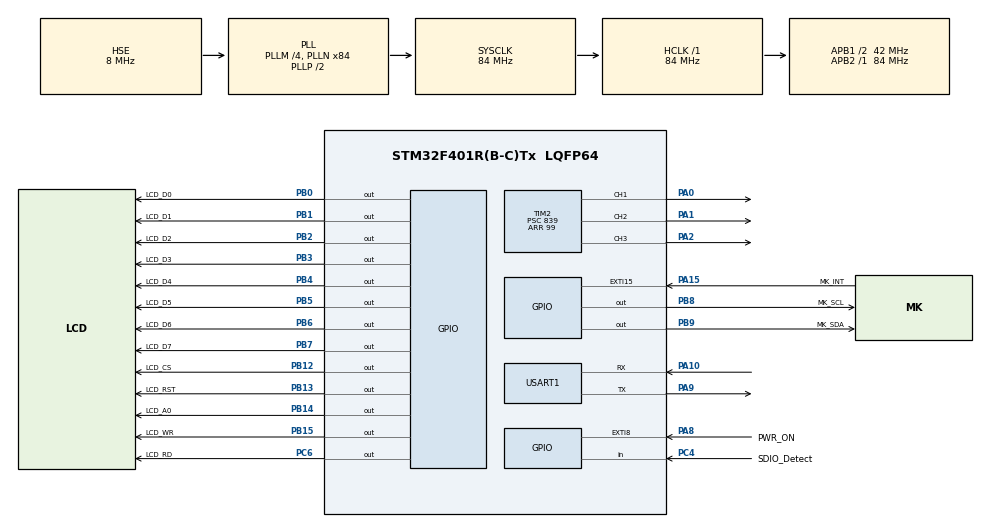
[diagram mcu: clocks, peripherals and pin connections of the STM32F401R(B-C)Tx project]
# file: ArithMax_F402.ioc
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Mcu.Family=STM32F4
Mcu.Name=STM32F401R(B-C)Tx
Mcu.Package=LQFP64
NVIC.EXTI15_10_IRQn=true\:2\:0\:true\:false\:true\:true\:true\:true
NVIC.EXTI9_5_IRQn=true\:1\:0\:true\:false\:true\:true\:true\:true
NVIC.PriorityGroup=NVIC_PRIORITYGROUP_4
NVIC.TIM1_UP_TIM10_IRQn=true\:3\:0\:true\:false\:true\:true\:true\:true
PA0-WKUP.Signal=S_TIM2_CH1_ETR
PA1.Signal=S_TIM2_CH2
PA10.Mode=Asynchronous
PA10.Signal=USART1_RX
PA13.Mode=Serial_Wire
PA13.Signal=SYS_JTMS-SWDIO
PA14.Mode=Serial_Wire
PA14.Signal=SYS_JTCK-SWCLK
PA15.GPIO_Label=MK_INT
PA15.GPIO_ModeDefaultEXTI=GPIO_MODE_IT_FALLING
PA15.Signal=GPXTI15
PA2.Signal=S_TIM2_CH3
PA8.GPIO_Label=PWR_ON
PA8.GPIO_ModeDefaultEXTI=GPIO_MODE_IT_FALLING
PA8.GPIO_PuPd=GPIO_PULLUP
PA8.Signal=GPXTI8
PA9.Mode=Asynchronous
PA9.Signal=USART1_TX
PB0.GPIO_Label=LCD_D0
PB0.GPIO_Speed=GPIO_SPEED_FREQ_VERY_HIGH
PB0.Signal=GPIO_Output
PB1.GPIO_Label=LCD_D1
PB1.GPIO_Speed=GPIO_SPEED_FREQ_VERY_HIGH
PB1.Signal=GPIO_Output
PB12.GPIO_Label=LCD_CS
PB12.GPIO_Speed=GPIO_SPEED_FREQ_VERY_HIGH
PB12.Signal=GPIO_Output
PB13.GPIO_Label=LCD_RST
PB13.GPIO_Speed=GPIO_SPEED_FREQ_VERY_HIGH
PB13.Signal=GPIO_Output
PB14.GPIO_Label=LCD_A0
PB14.GPIO_Speed=GPIO_SPEED_FREQ_VERY_HIGH
PB14.Signal=GPIO_Output
PB15.GPIO_Label=LCD_WR
PB15.GPIO_Speed=GPIO_SPEED_FREQ_VERY_HIGH
PB15.Signal=GPIO_Output
PB2.GPIO_Label=LCD_D2
PB2.GPIO_Speed=GPIO_SPEED_FREQ_VERY_HIGH
PB2.Signal=GPIO_Output
PB3.GPIO_Label=LCD_D3
PB3.GPIO_Speed=GPIO_SPEED_FREQ_VERY_HIGH
PB3.Signal=GPIO_Output
PB4.GPIO_Label=LCD_D4
PB4.GPIO_Speed=GPIO_SPEED_FREQ_VERY_HIGH
PB4.Signal=GPIO_Output
PB5.GPIO_Label=LCD_D5
PB5.GPIO_Speed=GPIO_SPEED_FREQ_VERY_HIGH
PB5.Signal=GPIO_Output
PB6.GPIO_Label=LCD_D6
PB6.GPIO_Speed=GPIO_SPEED_FREQ_VERY_HIGH
PB6.Signal=GPIO_Output
PB7.GPIO_Label=LCD_D7
PB7.GPIO_Speed=GPIO_SPEED_FREQ_VERY_HIGH
PB7.Signal=GPIO_Output
PB8.GPIO_Label=MK_SCL
PB8.GPIO_Speed=GPIO_SPEED_FREQ_VERY_HIGH
PB8.Signal=GPIO_Output
PB9.GPIO_Label=MK_SDA
PB9.GPIO_Speed=GPIO_SPEED_FREQ_VERY_HIGH
PB9.Signal=GPIO_Output
PC4.GPIO_Label=SDIO_Detect
PC4.GPIO_PuPd=GPIO_PULLDOWN
PC4.Signal=GPIO_Input
PC6.GPIO_Label=LCD_RD
PC6.GPIO_Speed=GPIO_SPEED_FREQ_VERY_HIGH
PC6.Signal=GPIO_Output
PH0\ -\ OSC_IN.Mode=HSE-External-Oscillator
PH0\ -\ OSC_IN.Signal=RCC_OSC_IN
PH1\ -\ OSC_OUT.Mode=HSE-External-Oscillator
PH1\ -\ OSC_OUT.Signal=RCC_OSC_OUT
ProjectManager.HeapSize=0x1600
ProjectManager.StackSize=0x3200
ProjectManager.TargetToolchain=MDK-ARM V5.32
RCC.48MHZClocksFreq_Value=42000000
RCC.AHBFreq_Value=84000000
RCC.APB1CLKDivider=RCC_HCLK_DIV2
RCC.APB1Freq_Value=42000000
RCC.APB1TimFreq_Value=84000000
RCC.APB2Freq_Value=84000000
RCC.APB2TimFreq_Value=84000000
RCC.CortexFreq_Value=84000000
RCC.HCLKFreq_Value=84000000
RCC.HSE_VALUE=8000000
RCC.HSI_VALUE=16000000
RCC.LSE_VALUE=32768
RCC.PLLM=4
RCC.PLLN=84
RCC.PLLSourceVirtual=RCC_PLLSOURCE_HSE
RCC.SYSCLKFreq_VALUE=84000000
RCC.SYSCLKSource=RCC_SYSCLKSOURCE_PLLCLK
RCC.VCOOutputFreq_Value=168000000
SH.S_TIM2_CH1_ETR.0=TIM2_CH1,PWM Generation1 CH1
SH.S_TIM2_CH2.0=TIM2_CH2,PWM Generation2 CH2
SH.S_TIM2_CH3.0=TIM2_CH3,PWM Generation3 CH3
TIM10.Period=49
TIM10.Prescaler=8399
TIM11.Period=65535
TIM11.Prescaler=83
TIM2.AutoReloadPreload=TIM_AUTORELOAD_PRELOAD_ENABLE
TIM2.Channel-PWM\ Generation1\ CH1=TIM_CHANNEL_1
TIM2.Channel-PWM\ Generation2\ CH2=TIM_CHANNEL_2
TIM2.Channel-PWM\ Generation3\ CH3=TIM_CHANNEL_3
TIM2.Period=99
TIM2.Prescaler=839
TIM2.Pulse-PWM\ Generation1\ CH1=99
TIM2.Pulse-PWM\ Generation2\ CH2=99
TIM2.Pulse-PWM\ Generation3\ CH3=99
USART1.VirtualMode=VM_ASYNC
VP_TIM10_VS_ClockSourceINT.Mode=Enable_Timer
VP_TIM11_VS_ClockSourceINT.Mode=Enable_Timer
board=custom

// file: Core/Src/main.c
/* USER CODE BEGIN Header */
/**
  ******************************************************************************
  * @file           : main.c
  * @brief          : Main program body
  ******************************************************************************
  * @attention
  *
  * <h2><center>&copy; Copyright (c) 2022 STMicroelectronics.
  * All rights reserved.</center></h2>
  *
  * This software component is licensed by ST under BSD 3-Clause license,
  * the "License"; You may not use this file except in compliance with the
  * License. You may obtain a copy of the License at:
  *                        opensource.org/licenses/BSD-3-Clause
  *
  ******************************************************************************
  */
/* USER CODE END Header */
#include "main.h"
#include "tim.h"
#include "usart.h"
#include "gpio.h"

/* USER CODE BEGIN Includes */
#include <stdio.h>
#include <string.h>
#include "st7565.h"
#include "led.h"
#include "matkeyboard.h"
#include "arithmatic.h"
#include "font.h"
#include "gui.h"
#include "sdcard.h"
#include <string.h>
#include <stdlib.h>
/* USER CODE END Includes */

void SystemClock_Config(void);

int main(void)
{

  /* MCU Configuration--------------------------------------------------------*/

  /* Reset of all peripherals, Initializes the Flash interface and the Systick. */
  HAL_Init();

  /* Configure the system clock */
  SystemClock_Config();

  /* Initialize all configured peripherals */
  MX_GPIO_Init();
  MX_USART1_UART_Init();
  MX_TIM2_Init();
  MX_TIM11_Init();
  MX_TIM10_Init();
  /* USER CODE BEGIN 2 */
	HAL_TIM_Base_Start_IT(&htim10);
	HAL_TIM_PWM_Start(&htim2,TIM_CHANNEL_1);
	HAL_TIM_PWM_Start(&htim2,TIM_CHANNEL_2);
	HAL_TIM_PWM_Start(&htim2,TIM_CHANNEL_3);

	CH452Init();
	LCD_Init();
	gui_init();

	LCD_ShowStr(0,0,12,(uint8_t *)"Powered By ARM",1);
	LCD_ShowStr(0,13,12,(uint8_t *)"Cortex-M4",1);

  /* USER CODE END 2 */

  /* Infinite loop */
  /* USER CODE BEGIN WHILE */
  while (1)
  {
		if(Key_updateFlag)
		{
				gui_line0Updt_from_keypad(KeyVal,(uint8_t *)&Key_updateFlag);

		}
    /* USER CODE END WHILE */

  }
}

void SystemClock_Config(void)
{
  RCC_OscInitTypeDef RCC_OscInitStruct = {0};
  RCC_ClkInitTypeDef RCC_ClkInitStruct = {0};

  /** Configure the main internal regulator output voltage
  */
  __HAL_RCC_PWR_CLK_ENABLE();
  __HAL_PWR_VOLTAGESCALING_CONFIG(PWR_REGULATOR_VOLTAGE_SCALE2);

  /** Initializes the RCC Oscillators according to the specified parameters
  * in the RCC_OscInitTypeDef structure.
  */
  RCC_OscInitStruct.OscillatorType = RCC_OSCILLATORTYPE_HSE;
  RCC_OscInitStruct.HSEState = RCC_HSE_ON;
  RCC_OscInitStruct.PLL.PLLState = RCC_PLL_ON;
  RCC_OscInitStruct.PLL.PLLSource = RCC_PLLSOURCE_HSE;
  RCC_OscInitStruct.PLL.PLLM = 4;
  RCC_OscInitStruct.PLL.PLLN = 84;
  RCC_OscInitStruct.PLL.PLLP = RCC_PLLP_DIV2;
  RCC_OscInitStruct.PLL.PLLQ = 4;
  if (HAL_RCC_OscConfig(&RCC_OscInitStruct) != HAL_OK)
  {
    Error_Handler();
  }

  /** Initializes the CPU, AHB and APB buses clocks
  */
  RCC_ClkInitStruct.ClockType = RCC_CLOCKTYPE_HCLK|RCC_CLOCKTYPE_SYSCLK
                              |RCC_CLOCKTYPE_PCLK1|RCC_CLOCKTYPE_PCLK2;
  RCC_ClkInitStruct.SYSCLKSource = RCC_SYSCLKSOURCE_PLLCLK;
  RCC_ClkInitStruct.AHBCLKDivider = RCC_SYSCLK_DIV1;
  RCC_ClkInitStruct.APB1CLKDivider = RCC_HCLK_DIV2;
  RCC_ClkInitStruct.APB2CLKDivider = RCC_HCLK_DIV1;

  if (HAL_RCC_ClockConfig(&RCC_ClkInitStruct, FLASH_LATENCY_2) != HAL_OK)
  {
    Error_Handler();
  }
}

void Error_Handler(void)
{
  __disable_irq();
  while (1)
  {
  }
}
